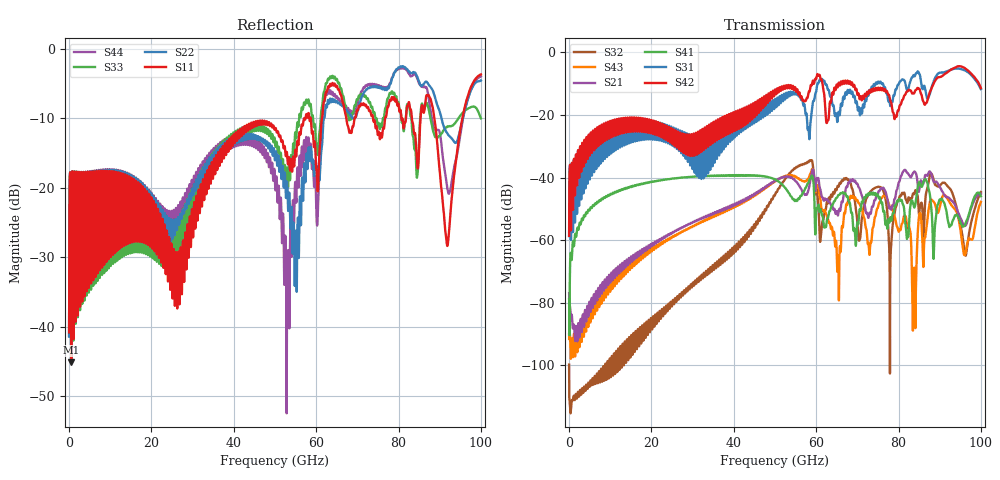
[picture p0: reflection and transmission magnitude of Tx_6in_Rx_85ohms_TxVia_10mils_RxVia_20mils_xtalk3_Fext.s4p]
! Info: Touchstone file created by Circ.  Input file=Tx_6in_Rx_85ohms_TxVia_10mils_RxVia_20mils.circ
# Hz S RI R 50
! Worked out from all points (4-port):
!   10000 points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, 10 MHz to 100 GHz, reference 50 ohm
!   strongest paths, dB at 10 MHz, 25.01 GHz, 50.01 GHz, 75.01 GHz, 100 GHz:
!     S42: -58.6, -27.5, -12.0, -11.3, -11.5
!     S31: -58.7, -27.8, -15.1, -9.4, -11.8
!     S41: -78.8, -40.4, -40.6, -45.6, -46.0
!     S21: -76.9, -57.7, -41.1, -45.1, -45.2
!     S43: -90.0, -59.1, -41.3, -49.5, -47.8
!     S32: -99.8, -80.9, -45.6, -43.0, -44.6
!   lowest |S11| = -45.1 dB at 530 MHz (marker M1), VSWR 1.01, Z = 49.5 - j0.0904 ohm
!   |S11| at or under -10 dB: start of sweep to 57.06 GHz; 73.8 GHz to 76.73 GHz (2.939 GHz wide, 3.91 % of centre); 88.72 GHz to 95.51 GHz (6.783 GHz wide, 7.36 % of centre) (the widest 3 of 9)
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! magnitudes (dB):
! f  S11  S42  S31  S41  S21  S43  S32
! 10 MHz  -40.8  -58.6  -58.7  -78.8  -76.9  -90.0  -99.8
! 530 MHz  -45.1  -42.9  -43.0  -65.2  -84.1  -93.8  -112.4
! 58.52 GHz  -10.2  -11.8  -24.0  -40.5  -41.6  -39.0  -34.5
! 61.2 GHz  -11.1  -8.7  -9.0  -50.8  -45.1  -49.2  -57.9
! 83.77 GHz  -12.2  -13.1  -7.4  -49.4  -38.1  -69.0  -45.3
! 87.92 GHz  -7.5  -11.9  -11.7  -49.2  -38.7  -47.1  -38.7
! 100 GHz  -3.7  -11.5  -11.8  -46.0  -45.2  -47.8  -44.6
